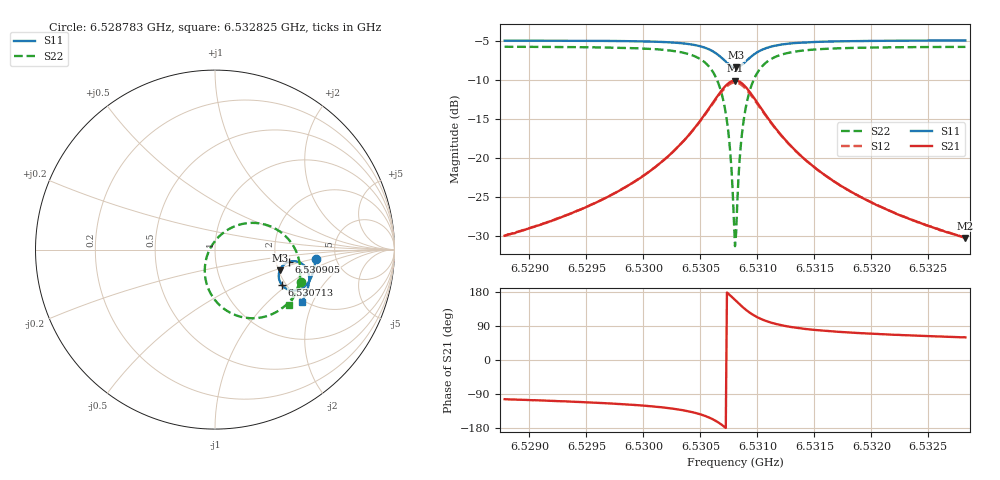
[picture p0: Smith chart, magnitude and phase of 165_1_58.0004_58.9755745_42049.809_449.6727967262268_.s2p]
#  HZ  S  RI  R  50.00
! Rohde & Schwarz Vector Network Analyzer
! Rohde-Schwarz,ZNB20-2Port,1311601062101988,3.16
! Created: UTC 3/21/2024, 12:57:41 AM
! freq[Hz]  re:S11  im:S11  re:S21  im:S21  re:S12  im:S12  re:S22  im:S22
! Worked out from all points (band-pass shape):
!   401 points, 6.528783 GHz to 6.532825 GHz, reference 50 ohm
!   highest |S21| = -10.10 dB at 6.530804 GHz (marker M1); lowest = -30.3 dB at 6.532825 GHz (marker M2)
!   |S21| within 3 dB of the highest: 6.530603 GHz to 6.531007 GHz (404.1 kHz wide, 0.00619 % of centre)
!   lowest |S11| = -8.4 dB at 6.530814 GHz (marker M3), VSWR 2.22, Z = 101 - j27.4 ohm
!   |S11| at or under -10 dB: nowhere
!   |S22| runs from -31.3 to -5.8 dB; largest |S21 - S12| = 0.013
!   S11 on the Smith chart (normalised r, x): 6.528783 GHz: 3.49, -0.52; 6.530713 GHz: 1.90, -0.90; 6.530905 GHz: 2.37, -0.39; 6.532825 GHz: 1.94, -1.66
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6.5287826e9  0.5605 -0.0513  -0.00736 -0.0309  -0.00802 -0.0308  0.4815 -0.1809
6.5294598e9  0.5513 -0.1082  -0.0169 -0.0439  -0.0181 -0.0436  0.4495 -0.2438
6.5298337e9  0.5406 -0.1437  -0.0291 -0.0574  -0.0306 -0.0567  0.4166 -0.2876
6.5301369e9  0.5242 -0.1772  -0.051 -0.0755  -0.0533 -0.0741  0.3658 -0.333
6.5303694e9  0.4973 -0.2075  -0.0915 -0.0955  -0.0945 -0.0923  0.2834 -0.3722
6.5305412e9  0.4533 -0.2276  -0.161 -0.1022  -0.1635 -0.0956  0.1549 -0.3769
6.5306423e9  0.4075 -0.2228  -0.232 -0.0756  -0.2312 -0.0656  0.0358 -0.3184
6.530713e9  0.3714 -0.1952  -0.2845 -0.0161  -0.2784 -0.00552  -0.041 -0.2079
6.5307535e9  0.3578 -0.1669  -0.3009 0.0379  -0.2914 0.0465  -0.0571 -0.1154
6.5307939e9  0.3562 -0.1328  -0.296 0.0996  -0.2849 0.1045  -0.037 -0.0152
6.530804e9  0.3582 -0.1241  -0.2909 0.1148  -0.2795 0.1186  -0.0259 0.00849
6.5308141e9  0.3609 -0.1158  -0.2846 0.1294  -0.273 0.1322  -0.0122 0.031
6.5308242e9  0.3647 -0.1078  -0.2766 0.1432  -0.2652 0.1449  0.00323 0.052
6.5308545e9  0.3801 -0.0872  -0.2462 0.1782  -0.2361 0.1773  0.0597 0.1035
6.5308747e9  0.3929 -0.0771  -0.2222 0.1952  -0.2131 0.1932  0.1024 0.1268
6.5309051e9  0.4136 -0.0678  -0.1848 0.2112  -0.1775 0.208  0.1673 0.1458
6.5309758e9  0.4576 -0.0668  -0.1079 0.2134  -0.1041 0.2101  0.2963 0.1342
6.5310769e9  0.4963 -0.0885  -0.0417 0.182  -0.0399 0.1801  0.4027 0.0649
6.5312285e9  0.519 -0.1247  -0.00164 0.1346  -0.000436 0.1338  0.4609 -0.0322
6.5314812e9  0.5251 -0.1684  0.0155 0.088  0.0165 0.0878  0.4751 -0.1308
6.5321583e9  0.5086 -0.2397  0.0177 0.0423  0.0186 0.0421  0.4459 -0.2477
6.5328254e9  0.484 -0.2908  0.0155 0.0265  0.0161 0.0263  0.4113 -0.3077
